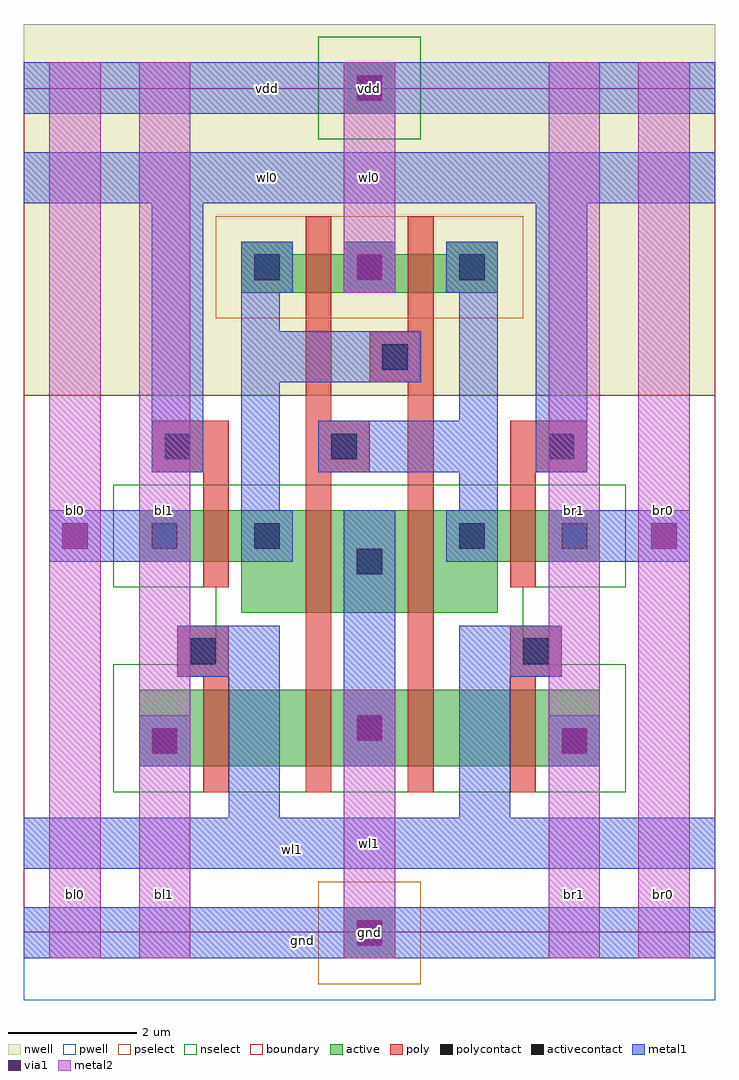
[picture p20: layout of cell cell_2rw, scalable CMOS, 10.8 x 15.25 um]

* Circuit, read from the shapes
.subckt cell_2rw bl0 bl1 br0 br1 gnd vdd wl0 wl1
M1 n1 wl1 bl1 gnd nfet w=1.2u l=0.4u
M2 n2 wl0 bl0 gnd nfet w=0.8u l=0.4u
M3 gnd n3 n1 gnd nfet w=1.2u l=0.4u
M4 gnd n3 n2 gnd nfet w=1.6u l=0.4u
M5 n4 n2 gnd gnd nfet w=1.2u l=0.4u
M6 n3 n2 gnd gnd nfet w=1.6u l=0.4u
M7 br1 wl1 n4 gnd nfet w=1.2u l=0.4u
M8 br0 wl0 n3 gnd nfet w=0.8u l=0.4u
M9 vdd n3 n2 vdd pfet w=0.6u l=0.4u
M10 n3 n2 vdd vdd pfet w=0.6u l=0.4u
.ends

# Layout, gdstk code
import gdstk
lib = gdstk.Library(unit=1e-6, precision=1e-09)
def R(c, l, rs):  # rectangles x0, y0, x1, y1
    for r in rs: c.add(gdstk.rectangle(r[:2], r[2:], *l))
def A(c, l, x, y, w, h, nx, ny, dx, dy):  # array of equal rectangles
    R(c, l, [(x+i*dx, y+j*dy, x+i*dx+w, y+j*dy+h) for i in range(nx) for j in range(ny)])
pwell = (41, 0)
nwell = (42, 0)
active = (43, 0)
pselect = (44, 0)
nselect = (45, 0)
poly = (46, 0)
polycontact = (47, 0)
activecontact = (48, 0)
metal1 = (49, 0)
via1 = (50, 0)
metal2 = (51, 0)
boundary = (63, 0)

cell_2rw = lib.new_cell('cell_2rw')
R(cell_2rw, pwell, [(0,-1.05,10.8,8.4)])
R(cell_2rw, nwell, [(0,8.4,10.8,14.2)])
A(cell_2rw, active, 3.4, 10.6, 0.8, 0.2, 3, 1, 1.6, 0)
R(cell_2rw, active, [(5,-0.4,5.8,0.4), (1.8,2.6,9,3.8), (3.4,5,7.4,5.8), (1.8,5.8,9,6.6), (3.4,10,7.4,10.6), (5,12.8,5.8,13.6)])
R(cell_2rw, pselect, [(4.6,-0.8,6.2,0.8), (3,9.6,7.8,11.2)])
R(cell_2rw, nselect, [(1.4,2.2,9.4,4.2), (3,4.2,7.8,5.4), (1.4,5.4,9.4,7), (4.6,12.4,6.2,14)])
R(cell_2rw, poly, [(2.8,2.2,3.2,4), (4.4,2.2,4.8,7.2), (6,2.2,6.4,8.6), (7.6,2.2,8,4), (2.4,4,3.2,4.8), (7.6,4,8.4,4.8), (2.8,5.4,3.2,7.2), (7.6,5.4,8,7.2), (2,7.2,3.2,8), (4.4,7.2,5.4,8), (7.6,7.2,8.8,8), (4.4,8,4.8,11.2), (5.4,8.6,6.4,9.4), (6,9.4,6.4,11.2)])
R(cell_2rw, polycontact, [(2.6,4.2,3,4.6), (7.8,4.2,8.2,4.6), (2.2,7.4,2.6,7.8), (4.8,7.4,5.2,7.8), (8.2,7.4,8.6,7.8), (5.6,8.8,6,9.2)])
A(cell_2rw, activecontact, 3.6, 10.2, 0.4, 0.4, 3, 1, 1.6, 0)
R(cell_2rw, activecontact, [(5.2,-0.2,5.6,0.2), (2,2.8,2.4,3.2), (8.4,2.8,8.8,3.2), (5.2,3,5.6,3.4), (5.2,5.6,5.6,6), (2,6,2.4,6.4), (3.6,6,4,6.4), (6.8,6,7.2,6.4), (8.4,6,8.8,6.4), (5.2,13,5.6,13.4)])
A(cell_2rw, metal1, 3.4, 10, 0.8, 0.8, 3, 1, 1.6, 0)
R(cell_2rw, metal1, [(0,-0.4,10.8,0.4), (0,-0.4,10.8,0.4), (0,1,10.8,1.8), (0,1,10.8,1.8), (3.2,1.8,4,4), (6.8,1.8,7.6,4), (1.8,2.6,2.6,3.4), (5,2.6,5.8,6.6), (8.2,2.6,9,3.4), (2.4,4,4,4.8), (6.8,4,8.4,4.8), (0.4,5.8,2.6,6.6), (3.4,5.8,4.2,6.6), (6.6,5.8,7.4,6.6), (8.2,5.8,10.4,6.6), (3.4,6.6,4,8.6), (6.8,6.6,7.4,7.2), (2,7.2,2.8,11.4), (4.6,7.2,7.4,8), (8,7.2,8.8,11.4), (6.8,8,7.4,10), (3.4,8.6,6.2,9.4), (3.4,9.4,4,10), (0,11.4,10.8,12.2), (0,11.4,10.8,12.2), (0,12.8,10.8,13.6), (0,12.8,10.8,13.6)])
R(cell_2rw, via1, [(5.2,-0.2,5.6,0.2), (2,2.8,2.4,3.2), (8.4,2.8,8.8,3.2), (5.2,3,5.6,3.4), (0.6,6,1,6.4), (9.8,6,10.2,6.4), (5.2,10.2,5.6,10.6), (5.2,13,5.6,13.4)])
R(cell_2rw, metal2, [(0.4,-0.4,1.2,13.6), (0.4,-0.4,1.2,13.6), (1.8,-0.4,2.6,13.6), (1.8,-0.4,2.6,13.6), (5,-0.4,5.8,3.8), (8.2,-0.4,9,13.6), (8.2,-0.4,9,13.6), (9.6,-0.4,10.4,13.6), (9.6,-0.4,10.4,13.6), (5,10,5.8,13.6)])
R(cell_2rw, boundary, [(0,0.005,10.8,13.2)])
cell_2rw.add(gdstk.Label('gnd', (4.36,-0.115), layer=49, texttype=0))
cell_2rw.add(gdstk.Label('wl1', (4.2,1.3), layer=49, texttype=0))
cell_2rw.add(gdstk.Label('wl0', (3.8,11.8), layer=49, texttype=0))
cell_2rw.add(gdstk.Label('vdd', (3.8,13.2), layer=49, texttype=0))
cell_2rw.add(gdstk.Label('bl0', (0.8,0.6), layer=51, texttype=0))
cell_2rw.add(gdstk.Label('bl1', (2.2,0.6), layer=51, texttype=0))
cell_2rw.add(gdstk.Label('br1', (8.6,0.6), layer=51, texttype=0))
cell_2rw.add(gdstk.Label('br0', (10,0.6), layer=51, texttype=0))
cell_2rw.add(gdstk.Label('bl0', (0.8,6.6), layer=51, texttype=0))
cell_2rw.add(gdstk.Label('br0', (10,6.6), layer=51, texttype=0))
cell_2rw.add(gdstk.Label('bl1', (2.2,6.6), layer=51, texttype=0))
cell_2rw.add(gdstk.Label('br1', (8.6,6.6), layer=51, texttype=0))
cell_2rw.add(gdstk.Label('wl0', (5.4,11.8), layer=49, texttype=0))
cell_2rw.add(gdstk.Label('wl1', (5.4,1.4), layer=49, texttype=0))
cell_2rw.add(gdstk.Label('vdd', (5.4,13.2), layer=49, texttype=0))
cell_2rw.add(gdstk.Label('gnd', (5.4,0), layer=49, texttype=0))

lib.write_gds('cell_2rw.gds')
